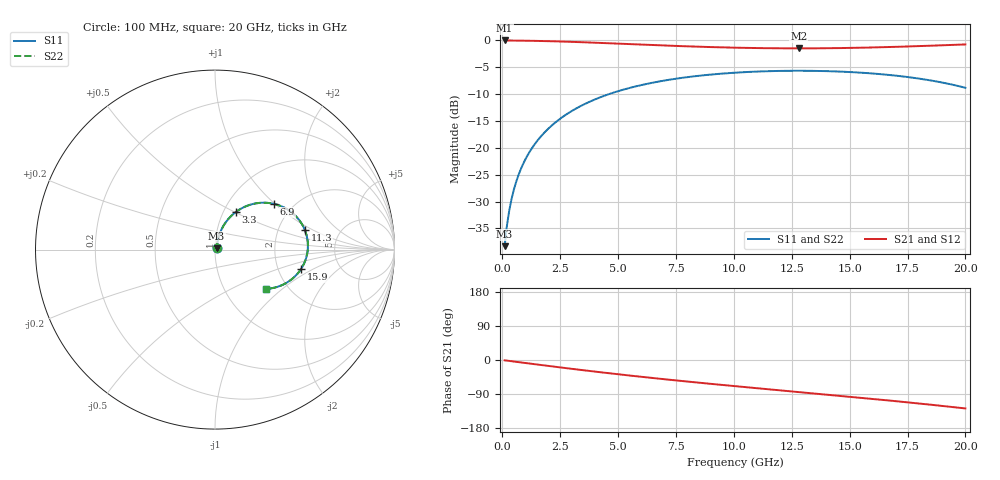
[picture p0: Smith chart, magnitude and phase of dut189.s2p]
! Touchstone file exported from HFSS 2026.1.0
!  File:  C:/ffzhzh/LocalFiles/Ansys_Project_Files/temp_train_TSV_RDL_189_1783058496_17544.aedt
!  Generated:  02:11:01 PM Jul  3, 2026
!  Design:  TSV_RDL
!  Project:  temp_train_TSV_RDL_189_1783058496_17544
! Variables:
!  h_bsmrdl = 4.07um
!  h_ox = 20um
!  h_rdl = 5um
!  h_sub = 50.06um
!  h_tmrdl = 4.1um
!  h_tsv = 50.06um
!  h_via = 3um
!  l_bsmrdl = 388.81um
!  l_sub = 2346.22um
!  l_tmrdl = 162.93um
!  m_sub = 200um
!  pitch = 59.03um
!  r_tsv = 14.97um
!  s_tmrdl = 10um
!  w_bsmrdl = 29.83um
!  w_sub = 500um
!  w_tmrdl = 12.86um
!  x_tsv_center1 = 169.36um
!  x_tsv_center2 = 588um
!  x_tsv_center3 = 763.79um
!  x_tsv_center4 = 1182.43um
!  x_tsv_center5 = 1358.22um
!  x_tsv_center6 = 1776.86um
# GHz S MA R 50.000000
! Terminal data exported
! Port[1] = TM_RDL1_1_T1
! Port[2] = TM_RDL5_1_T1
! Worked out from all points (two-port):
!   200 points, 100 MHz to 20 GHz, reference 50 ohm
!   highest |S21| = -0.08 dB at 100 MHz (marker M1); lowest = -1.5 dB at 12.8 GHz (marker M2)
!   |S21| within 3 dB of the highest: start of sweep to end of sweep
!   lowest |S11| = -38.3 dB at 100 MHz (marker M3), VSWR 1.02, Z = 50.9 + j0.836 ohm
!   |S11| at or under -10 dB: start of sweep to 4.638 GHz
!   |S22| runs from -38.3 to -5.7 dB; largest |S21 - S12| = 1.2e-12
!   S11 on the Smith chart (normalised r, x): 100 MHz: 1.02, +0.02; 3.3 GHz: 1.14, +0.51; 6.9 GHz: 1.61, +0.99; 11.3 GHz: 2.82, +0.84; 15.9 GHz: 2.67, -0.77; 20 GHz: 1.56, -0.78
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0.1  0.01218 42.4  0.9911 -0.8  0.9911 -0.8  0.01218 42.4
! Gamma 0 0 0 0
! Port Impedance 50 0 50 0
0.2  0.01884 58.8  0.9906 -1.6  0.9906 -1.6  0.01884 58.8
0.3  0.02607 65.8  0.99 -2.4  0.99 -2.4  0.02607 65.8
0.4  0.03342 69.4  0.9895 -3.2  0.9895 -3.2  0.03342 69.4
0.7  0.05575 73.5  0.9878 -5.6  0.9878 -5.6  0.05575 73.5
1  0.07818 74.0  0.9859 -8.0  0.9859 -8.0  0.07818 74.0
1.4  0.1078 72.8  0.9827 -11.1  0.9827 -11.1  0.1078 72.8
1.9  0.1441 70.2  0.9775 -15.0  0.9775 -15.0  0.1441 70.2
2.5  0.186 66.5  0.9697 -19.6  0.9697 -19.6  0.186 66.5
3.3  0.2385 61.1  0.9572 -25.5  0.9572 -25.5  0.2385 61.1
3.5  0.2509 59.8  0.9538 -27.0  0.9538 -27.0  0.2509 59.8
5  0.335 49.7  0.9262 -37.6  0.9262 -37.6  0.335 49.7
6.8  0.4133 38.2  0.8932 -49.5  0.8932 -49.5  0.4133 38.2
6.9  0.417 37.6  0.8914 -50.1  0.8914 -50.1  0.417 37.6
10.1  0.4983 18.9  0.8488 -69.3  0.8488 -69.3  0.4983 18.9
11.3  0.5124 12.3  0.8405 -76.1  0.8405 -76.1  0.5124 12.3
12.8  0.5185 4.1  0.8368 -84.5  0.8368 -84.5  0.5185 4.1
13.4  0.5175 0.9  0.8374 -87.9  0.8374 -87.9  0.5174 0.9
15.9  0.4908 -12.9  0.8523 -102.1  0.8523 -102.1  0.4908 -12.9
16.7  0.4742 -17.5  0.861 -106.9  0.861 -106.9  0.4742 -17.5
18.4  0.4251 -27.5  0.8844 -117.3  0.8844 -117.3  0.4251 -27.5
20  0.3602 -37.4  0.9104 -127.8  0.9104 -127.8  0.3602 -37.4
